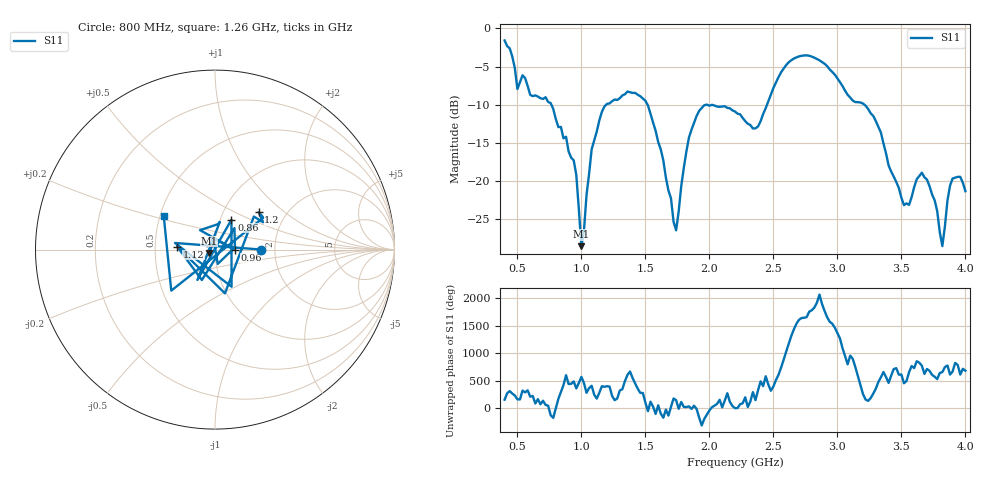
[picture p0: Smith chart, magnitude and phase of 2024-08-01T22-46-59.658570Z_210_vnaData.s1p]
!Created with skrf (http://scikit-rf.org).
# Hz S RI R 50.0
!freq ReS11 ImS11
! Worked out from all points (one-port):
!   181 points, 400 MHz to 4 GHz, reference 50 ohm
!   lowest |S11| = -28.5 dB at 1 GHz (marker M1), VSWR 1.08, Z = 46.8 - j1.7 ohm
!   |S11| at or under -10 dB: 1.517 GHz to 1.974 GHz (456.4 MHz wide, 26.2 % of centre); 1.984 GHz to 2.45 GHz (466.4 MHz wide, 21 % of centre); 3.212 GHz to end of sweep (the widest 3 of 4)
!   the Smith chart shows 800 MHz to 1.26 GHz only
!   S11 on the Smith chart (normalised r, x): 800 MHz: 1.68, +0.00; 860 MHz: 1.13, +0.39; 960 MHz: 1.25, +0.00; 1.12 GHz: 0.65, +0.02; 1.2 GHz: 1.46, +0.68; 1.26 GHz: 0.52, +0.22
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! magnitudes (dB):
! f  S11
! 400 MHz  -1.6
! 500 MHz  -7.9
! 540 MHz  -6.1
! 800 MHz  -11.9
! 860 MHz  -14.4
! 960 MHz  -19.2
! 1 GHz  -28.5
! 1.08 GHz  -15.8
! 1.12 GHz  -13.5
! 1.2 GHz  -9.9
! 1.26 GHz  -9.3
! 1.3 GHz  -9.1
! 1.52 GHz  -10.1
! 1.72 GHz  -25.3
! 1.76 GHz  -24.0
! 1.84 GHz  -14.3
! 1.92 GHz  -10.8
! 2.2 GHz  -10.9
! 2.38 GHz  -12.8
! 2.66 GHz  -4.0
! 3.1 GHz  -9.1
! 3.28 GHz  -11.5
! 3.56 GHz  -23.1
! 3.66 GHz  -18.9
! 3.76 GHz  -22.5
! 3.82 GHz  -28.5
! 3.9 GHz  -19.6
! 4 GHz  -21.3
